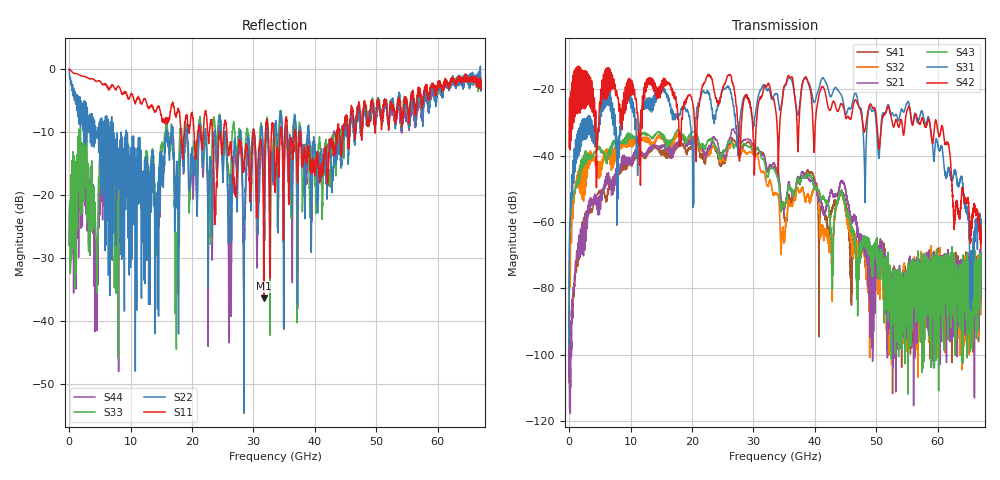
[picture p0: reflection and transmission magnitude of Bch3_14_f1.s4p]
!Agilent Technologies,N5247A,US51170199,A.09.90.13
!Agilent N5247A: A.09.90.13
!Date: Thursday, October 18, 2018 13:06:45
!Correction: S11(Full 4 Port(1,2,3,4))
!S12(Full 4 Port(1,2,3,4))
!S13(Full 4 Port(1,2,3,4))
!S14(Full 4 Port(1,2,3,4))
!S21(Full 4 Port(1,2,3,4))
!S22(Full 4 Port(1,2,3,4))
!S23(Full 4 Port(1,2,3,4))
!S24(Full 4 Port(1,2,3,4))
!S31(Full 4 Port(1,2,3,4))
!S32(Full 4 Port(1,2,3,4))
!S33(Full 4 Port(1,2,3,4))
!S34(Full 4 Port(1,2,3,4))
!S41(Full 4 Port(1,2,3,4))
!S42(Full 4 Port(1,2,3,4))
!S43(Full 4 Port(1,2,3,4))
!S44(Full 4 Port(1,2,3,4))
!S4P File: Measurements: <S11,S12,S13,S14>,
!<S21,S22,S23,S24>,
!<S31,S32,S33,S34>,
!<S41,S42,S43,S44>:
# Hz S  dB  R 50
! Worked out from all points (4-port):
!   6701 points, 10 MHz to 67 GHz, reference 50 ohm
!   strongest paths, dB at 10 MHz, 16.76 GHz, 33.51 GHz, 50.25 GHz, 67 GHz:
!     S42: -37.5, -20.2, -24.9, -34.3, -68.2
!     S31: -97.7, -26.8, -21.3, -38.1, -59.4
!     S43: -85.3, -35.2, -44.6, -71.7, -71.5
!     S21: -85.8, -37.9, -42.8, -73.0, -74.1
!     S32: -87.4, -36.1, -51.2, -71.0, -78.8
!     S41: -80.9, -39.3, -43.4, -69.4, -87.9
!   lowest |S11| = -36.5 dB at 31.67 GHz (marker M1), VSWR 1.03, Z = 48.5 + j0.0774 ohm
!   |S11| at or under -10 dB: 25.65 GHz to 29.99 GHz (4.343 GHz wide, 15.6 % of centre); 30.11 GHz to 31.97 GHz (1.862 GHz wide, 6 % of centre); 37.58 GHz to 43.49 GHz (5.916 GHz wide, 14.6 % of centre)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
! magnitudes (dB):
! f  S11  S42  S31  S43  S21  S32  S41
! 10 MHz  0.0  -37.5  -97.7  -85.3  -85.8  -87.4  -80.9
! 1.35 GHz  -0.7  -25.3  -40.8  -47.9  -70.7  -49.4  -72.4
! 6.119 GHz  -2.5  -22.6  -24.4  -40.6  -48.7  -40.7  -52.2
! 31.67 GHz  -36.5  -20.0  -18.8  -41.1  -39.9  -44.9  -39.3
! 59.74 GHz  -3.2  -29.7  -35.0  -76.7  -76.1  -80.0  -79.3
! 65.48 GHz  -1.7  -61.2  -74.6  -76.4  -84.2  -78.2  -82.0
! 67 GHz  -3.1  -68.2  -59.4  -71.5  -74.1  -78.8  -87.9
